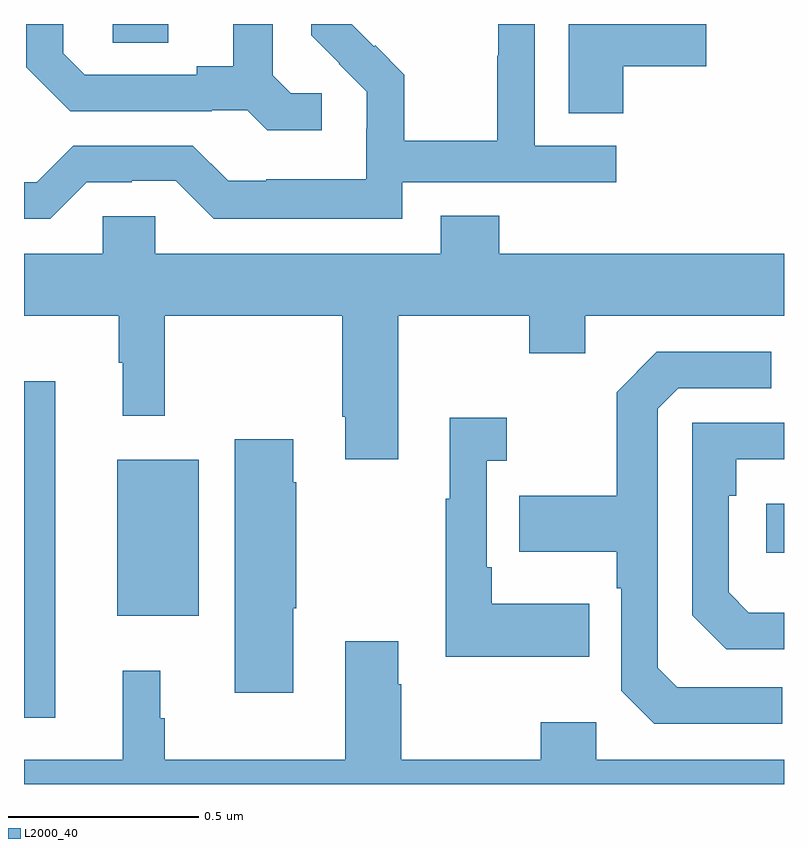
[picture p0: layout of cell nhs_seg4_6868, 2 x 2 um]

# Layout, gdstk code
import gdstk
lib = gdstk.Library(unit=1e-6, precision=1e-09)
def R(c, l, rs):  # rectangles x0, y0, x1, y1
    for r in rs: c.add(gdstk.rectangle(r[:2], r[2:], *l))
def P(c, l, *ps):  # polygons
    for p in ps: c.add(gdstk.Polygon(p, *l))
L2000_40 = (2000, 40)

nhs_seg4_6868 = lib.new_cell('nhs_seg4_6868')
R(nhs_seg4_6868, L2000_40, [(195,817.074,195.082,817.96), (195.245,817.343,195.46,817.753), (196.953,817.508,197,817.638), (195.234,818.851,195.379,818.9)])
P(nhs_seg4_6868, L2000_40, [(195.996,818.484),(196.558,818.484),(196.558,818.58),(196.344,818.58),(196.344,818.9),(196.248,818.9),(196.248,818.816),(196.246,818.816),(196.246,818.593),(196.001,818.593),(196.001,818.767),(195.924,818.844),(195.921,818.841),(195.863,818.9),(195.756,818.9),(195.756,818.87),(195.829,818.797),(195.828,818.796),(195.902,818.722),(195.902,818.625),(195.9,818.625),(195.9,818.491),(195.637,818.491),(195.637,818.487),(195.537,818.487),(195.444,818.58),(195.129,818.58),(195.033,818.484),(195,818.484),(195,818.388),(195.069,818.388),(195.165,818.484),(195.284,818.484),(195.284,818.487),(195.399,818.487),(195.499,818.387),(195.996,818.387)],
  [(196.577,818.789),(196.795,818.789),(196.795,818.9),(196.433,818.9),(196.433,818.665),(196.577,818.665)],
  [(195.784,818.718),(195.702,818.718),(195.655,818.765),(195.655,818.9),(195.551,818.9),(195.551,818.789),(195.455,818.789),(195.455,818.766),(195.16,818.766),(195.103,818.823),(195.103,818.9),(195.006,818.9),(195.006,818.786),(195.122,818.67),(195.494,818.67),(195.494,818.673),(195.588,818.673),(195.64,818.621),(195.784,818.621)],
  [(195.985,818.132),(196.33,818.132),(196.33,818.033),(196.477,818.033),(196.477,818.132),(197,818.132),(197,818.296),(196.25,818.296),(196.25,818.395),(196.097,818.395),(196.097,818.296),(195.345,818.296),(195.345,818.394),(195.207,818.394),(195.207,818.296),(195,818.296),(195,818.132),(195.249,818.132),(195.249,818.009),(195.26,818.009),(195.26,817.869),(195.37,817.869),(195.37,818.132),(195.838,818.132),(195.838,817.867),(195.845,817.867),(195.845,817.755),(195.985,817.755)],
  [(196.996,817.155),(196.719,817.155),(196.668,817.206),(196.668,817.887),(196.722,817.941),(196.966,817.941),(196.966,818.037),(196.665,818.037),(196.56,817.931),(196.56,817.659),(196.303,817.659),(196.303,817.511),(196.56,817.511),(196.56,817.415),(196.572,817.415),(196.572,817.146),(196.659,817.059),(196.996,817.059)],
  [(196.487,817.375),(196.231,817.375),(196.231,817.471),(196.218,817.471),(196.218,817.751),(196.27,817.751),(196.27,817.864),(196.121,817.864),(196.121,817.651),(196.11,817.651),(196.11,817.235),(196.487,817.235)],
  [(197,817.351),(196.907,817.351),(196.854,817.404),(196.854,817.658),(196.874,817.658),(196.874,817.755),(197,817.755),(197,817.851),(196.758,817.851),(196.758,817.344),(196.848,817.254),(197,817.254)],
  [(195.709,817.363),(195.717,817.363),(195.717,817.694),(195.709,817.694),(195.709,817.807),(195.554,817.807),(195.554,817.14),(195.709,817.14)],
  [(197,816.964),(196.506,816.964),(196.506,817.063),(196.36,817.063),(196.36,816.964),(195.993,816.964),(195.993,817.163),(195.985,817.163),(195.985,817.276),(195.845,817.276),(195.845,816.964),(195.37,816.964),(195.37,817.073),(195.359,817.073),(195.359,817.198),(195.26,817.198),(195.26,816.964),(195,816.964),(195,816.9),(197,816.9)])

lib.write_gds('nhs_seg4_6868.gds')
